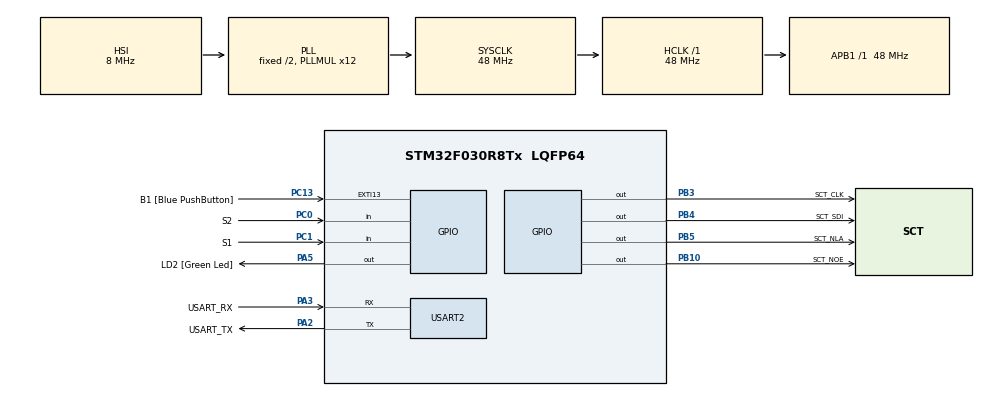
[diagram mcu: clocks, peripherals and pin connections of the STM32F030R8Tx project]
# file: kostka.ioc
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Mcu.Family=STM32F0
Mcu.Name=STM32F030R8Tx
Mcu.Package=LQFP64
PA13.GPIO_Label=TMS
PA13.Mode=Serial_Wire
PA13.Signal=SYS_SWDIO
PA14.GPIO_Label=TCK
PA14.Mode=Serial_Wire
PA14.Signal=SYS_SWCLK
PA2.GPIO_Label=USART_TX
PA2.GPIO_Mode=GPIO_MODE_AF_PP
PA2.GPIO_PuPd=GPIO_NOPULL
PA2.GPIO_Speed=GPIO_SPEED_FREQ_LOW
PA2.Mode=Asynchronous
PA2.Signal=USART2_TX
PA3.GPIO_Label=USART_RX
PA3.GPIO_Mode=GPIO_MODE_AF_PP
PA3.GPIO_PuPd=GPIO_NOPULL
PA3.GPIO_Speed=GPIO_SPEED_FREQ_LOW
PA3.Mode=Asynchronous
PA3.Signal=USART2_RX
PA5.GPIO_Label=LD2 [Green Led]
PA5.GPIO_Mode=GPIO_MODE_OUTPUT_PP
PA5.GPIO_PuPd=GPIO_NOPULL
PA5.GPIO_Speed=GPIO_SPEED_FREQ_LOW
PA5.Signal=GPIO_Output
PB10.GPIO_Label=SCT_NOE
PB10.Signal=GPIO_Output
PB3.GPIO_Label=SCT_CLK
PB3.Signal=GPIO_Output
PB4.GPIO_Label=SCT_SDI
PB4.Signal=GPIO_Output
PB5.GPIO_Label=SCT_NLA
PB5.Signal=GPIO_Output
PC0.GPIO_Label=S2
PC0.GPIO_PuPd=GPIO_PULLUP
PC0.Signal=GPIO_Input
PC1.GPIO_Label=S1
PC1.GPIO_PuPd=GPIO_PULLUP
PC1.Signal=GPIO_Input
PC13.GPIO_Label=B1 [Blue PushButton]
PC13.GPIO_ModeDefaultEXTI=GPIO_MODE_IT_FALLING
PC13.Signal=GPXTI13
PC14-OSC32_IN.Mode=LSE-External-Oscillator
PC14-OSC32_IN.Signal=RCC_OSC32_IN
PC15-OSC32_OUT.Mode=LSE-External-Oscillator
PC15-OSC32_OUT.Signal=RCC_OSC32_OUT
PF0-OSC_IN.Mode=HSE-External-Clock-Source
PF0-OSC_IN.Signal=RCC_OSC_IN
PF1-OSC_OUT.Signal=RCC_OSC_OUT
ProjectManager.HeapSize=0x200
ProjectManager.StackSize=0x400
ProjectManager.TargetToolchain=STM32CubeIDE
RCC.AHBFreq_Value=48000000
RCC.APB1Freq_Value=48000000
RCC.APB1TimFreq_Value=48000000
RCC.HCLKFreq_Value=48000000
RCC.PLLMUL=RCC_PLL_MUL12
RCC.SYSCLKFreq_VALUE=48000000
RCC.SYSCLKSource=RCC_SYSCLKSOURCE_PLLCLK
USART2.VirtualMode-Asynchronous=VM_ASYNC
board=NUCLEO-F030R8

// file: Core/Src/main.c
/* USER CODE BEGIN Header */
/**
  ******************************************************************************
  * @file           : main.c
  * @brief          : Main program body
  ******************************************************************************
  * @attention
  *
  * Copyright (c) 2024 STMicroelectronics.
  * All rights reserved.
  *
  * This software is licensed under terms that can be found in the LICENSE file
  * in the root directory of this software component.
  * If no LICENSE file comes with this software, it is provided AS-IS.
  *
  ******************************************************************************
  */
/* USER CODE END Header */
#include "main.h"

/* USER CODE BEGIN Includes */
#include "sct.h"
#include <stdlib.h>
/* USER CODE END Includes */

UART_HandleTypeDef huart2;

void SystemClock_Config(void);
static void MX_GPIO_Init(void);
static void MX_USART2_UART_Init(void);

int main(void)
{

  /* MCU Configuration--------------------------------------------------------*/

  /* Reset of all peripherals, Initializes the Flash interface and the Systick. */
  HAL_Init();

  /* Configure the system clock */
  SystemClock_Config();

  /* Initialize all configured peripherals */
  MX_GPIO_Init();
  MX_USART2_UART_Init();
  /* USER CODE BEGIN 2 */
  sct_init();
  uint8_t hod;
  uint32_t delay=10;
  /* USER CODE END 2 */

  /* Infinite loop */
  /* USER CODE BEGIN WHILE */
  while (1)
  {
	  if(HAL_GPIO_ReadPin(S1_GPIO_Port, S1_Pin) == 0){
		 hod = (rand() % 6) + 1;
		 for (int i=0; i<10;i++){
			 for (int j=1;j<7;j++){
				 sct_value(j);
				 HAL_Delay(delay+i*10);
				 if(HAL_GPIO_ReadPin(S2_GPIO_Port, S2_Pin)==0){
					 i=10;
					 break;
				 }
			 }
		 }
		  sct_value(hod);
	  }
    /* USER CODE END WHILE */

  }
}

void SystemClock_Config(void)
{
  RCC_OscInitTypeDef RCC_OscInitStruct = {0};
  RCC_ClkInitTypeDef RCC_ClkInitStruct = {0};

  /** Initializes the RCC Oscillators according to the specified parameters
  * in the RCC_OscInitTypeDef structure.
  */
  RCC_OscInitStruct.OscillatorType = RCC_OSCILLATORTYPE_HSI;
  RCC_OscInitStruct.HSIState = RCC_HSI_ON;
  RCC_OscInitStruct.HSICalibrationValue = RCC_HSICALIBRATION_DEFAULT;
  RCC_OscInitStruct.PLL.PLLState = RCC_PLL_ON;
  RCC_OscInitStruct.PLL.PLLSource = RCC_PLLSOURCE_HSI;
  RCC_OscInitStruct.PLL.PLLMUL = RCC_PLL_MUL12;
  RCC_OscInitStruct.PLL.PREDIV = RCC_PREDIV_DIV1;
  if (HAL_RCC_OscConfig(&RCC_OscInitStruct) != HAL_OK)
  {
    Error_Handler();
  }

  /** Initializes the CPU, AHB and APB buses clocks
  */
  RCC_ClkInitStruct.ClockType = RCC_CLOCKTYPE_HCLK|RCC_CLOCKTYPE_SYSCLK
                              |RCC_CLOCKTYPE_PCLK1;
  RCC_ClkInitStruct.SYSCLKSource = RCC_SYSCLKSOURCE_PLLCLK;
  RCC_ClkInitStruct.AHBCLKDivider = RCC_SYSCLK_DIV1;
  RCC_ClkInitStruct.APB1CLKDivider = RCC_HCLK_DIV1;

  if (HAL_RCC_ClockConfig(&RCC_ClkInitStruct, FLASH_LATENCY_1) != HAL_OK)
  {
    Error_Handler();
  }
}

static void MX_USART2_UART_Init(void)
{

  huart2.Instance = USART2;
  huart2.Init.BaudRate = 38400;
  huart2.Init.WordLength = UART_WORDLENGTH_8B;
  huart2.Init.StopBits = UART_STOPBITS_1;
  huart2.Init.Parity = UART_PARITY_NONE;
  huart2.Init.Mode = UART_MODE_TX_RX;
  huart2.Init.HwFlowCtl = UART_HWCONTROL_NONE;
  huart2.Init.OverSampling = UART_OVERSAMPLING_16;
  huart2.Init.OneBitSampling = UART_ONE_BIT_SAMPLE_DISABLE;
  huart2.AdvancedInit.AdvFeatureInit = UART_ADVFEATURE_NO_INIT;
  if (HAL_UART_Init(&huart2) != HAL_OK)
  {
    Error_Handler();
  }

}

static void MX_GPIO_Init(void)
{
  GPIO_InitTypeDef GPIO_InitStruct = {0};

  /* GPIO Ports Clock Enable */
  __HAL_RCC_GPIOC_CLK_ENABLE();
  __HAL_RCC_GPIOF_CLK_ENABLE();
  __HAL_RCC_GPIOA_CLK_ENABLE();
  __HAL_RCC_GPIOB_CLK_ENABLE();

  /*Configure GPIO pin Output Level */
  HAL_GPIO_WritePin(LD2_GPIO_Port, LD2_Pin, GPIO_PIN_RESET);

  /*Configure GPIO pin Output Level */
  HAL_GPIO_WritePin(GPIOB, SCT_NOE_Pin|SCT_CLK_Pin|SCT_SDI_Pin|SCT_NLA_Pin, GPIO_PIN_RESET);

  /*Configure GPIO pin : B1_Pin */
  GPIO_InitStruct.Pin = B1_Pin;
  GPIO_InitStruct.Mode = GPIO_MODE_IT_FALLING;
  GPIO_InitStruct.Pull = GPIO_NOPULL;
  HAL_GPIO_Init(B1_GPIO_Port, &GPIO_InitStruct);

  /*Configure GPIO pins : S2_Pin S1_Pin */
  GPIO_InitStruct.Pin = S2_Pin|S1_Pin;
  GPIO_InitStruct.Mode = GPIO_MODE_INPUT;
  GPIO_InitStruct.Pull = GPIO_PULLUP;
  HAL_GPIO_Init(GPIOC, &GPIO_InitStruct);

  /*Configure GPIO pin : LD2_Pin */
  GPIO_InitStruct.Pin = LD2_Pin;
  GPIO_InitStruct.Mode = GPIO_MODE_OUTPUT_PP;
  GPIO_InitStruct.Pull = GPIO_NOPULL;
  GPIO_InitStruct.Speed = GPIO_SPEED_FREQ_LOW;
  HAL_GPIO_Init(LD2_GPIO_Port, &GPIO_InitStruct);

  /*Configure GPIO pins : SCT_NOE_Pin SCT_CLK_Pin SCT_SDI_Pin SCT_NLA_Pin */
  GPIO_InitStruct.Pin = SCT_NOE_Pin|SCT_CLK_Pin|SCT_SDI_Pin|SCT_NLA_Pin;
  GPIO_InitStruct.Mode = GPIO_MODE_OUTPUT_PP;
  GPIO_InitStruct.Pull = GPIO_NOPULL;
  GPIO_InitStruct.Speed = GPIO_SPEED_FREQ_LOW;
  HAL_GPIO_Init(GPIOB, &GPIO_InitStruct);

}

void Error_Handler(void)
{
  __disable_irq();
  while (1)
  {
  }
}
